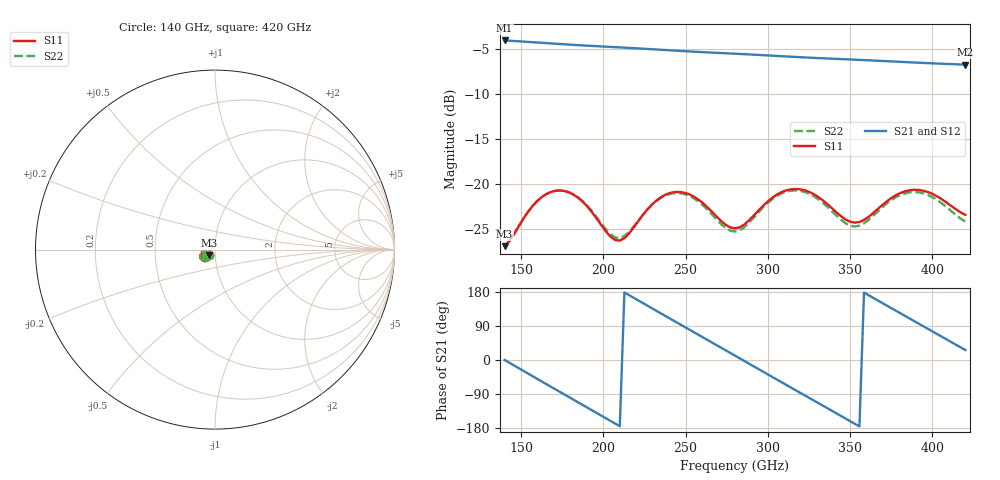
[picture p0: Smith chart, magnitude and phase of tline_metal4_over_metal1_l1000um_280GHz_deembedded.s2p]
! Created with skrf 2.2.0 (http://scikit-rf.org).
# GHz S DB R 50.0
! Port[1] = P1
! Port[2] = P2
!freq dBS11 angS11 dBS21 angS21 dBS12 angS12 dBS22 angS22
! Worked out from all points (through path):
!   101 points, 140 GHz to 420 GHz, reference 50 ohm
!   highest |S21| = -4.07 dB at 140 GHz (marker M1); lowest = -6.8 dB at 420 GHz (marker M2)
!   group delay of S21, straight-line fit = 6.88 ps
!   lowest |S11| = -26.9 dB at 140 GHz (marker M3), VSWR 1.09, Z = 46.8 - j3 ohm
!   |S11| at or under -10 dB: start of sweep to end of sweep
!   |S22| runs from -26.8 to -20.7 dB; largest |S21 - S12| = 7.1e-14
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140  -26.90 -134.9  -4.07 -0.0  -4.07 -0.0  -26.85 -135.8
151.2  -23.92 -121.8  -4.19 -28.1  -4.19 -28.1  -23.91 -122.6
165.2  -21.13 -133.3  -4.36 -63.2  -4.36 -63.2  -21.14 -133.8
176.4  -20.79 -147.9  -4.50 -91.2  -4.50 -91.2  -20.77 -148.3
187.6  -22.00 -160.4  -4.62 -119.0  -4.62 -119.0  -21.93 -160.7
198.8  -24.58 -162.8  -4.73 -146.9  -4.73 -146.9  -24.39 -163.2
210  -26.28 -144.7  -4.84 -174.8  -4.84 -174.8  -26.01 -146.6
221.2  -24.14 -129.7  -4.95 157.3  -4.95 157.3  -24.07 -132.4
235.2  -21.44 -136.1  -5.10 122.4  -5.10 122.4  -21.52 -138.6
254.8  -21.38 -156.0  -5.31 73.9  -5.31 73.9  -21.57 -158.4
268.8  -23.61 -160.4  -5.44 39.2  -5.44 39.2  -23.92 -162.3
280  -24.92 -148.0  -5.54 11.5  -5.54 11.5  -25.28 -148.8
294  -23.00 -134.7  -5.67 -23.2  -5.67 -23.2  -23.19 -135.0
308  -20.93 -141.2  -5.81 -57.9  -5.81 -57.9  -21.08 -142.1
327.6  -21.10 -158.5  -6.00 -106.2  -6.00 -106.2  -21.32 -160.0
341.6  -23.14 -161.7  -6.11 -140.7  -6.11 -140.7  -23.50 -163.1
352.8  -24.29 -151.0  -6.20 -168.3  -6.20 -168.3  -24.72 -151.3
364  -23.22 -139.8  -6.30 164.0  -6.30 164.0  -23.52 -139.6
375.2  -21.54 -140.4  -6.40 136.4  -6.40 136.4  -21.76 -140.6
386.4  -20.69 -147.9  -6.50 108.8  -6.50 108.8  -20.92 -148.7
397.6  -20.92 -156.4  -6.59 81.3  -6.59 81.3  -21.25 -157.7
420  -23.43 -156.1  -6.75 26.2  -6.75 26.2  -24.16 -156.2
